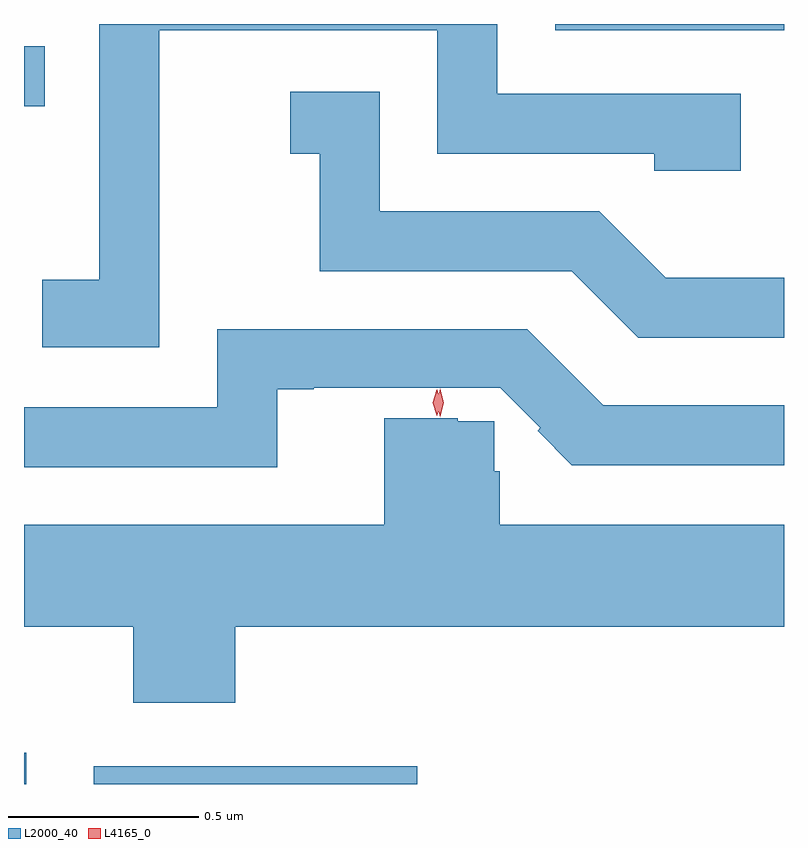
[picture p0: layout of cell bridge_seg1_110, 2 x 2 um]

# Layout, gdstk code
import gdstk
lib = gdstk.Library(unit=1e-6, precision=1e-09)
def R(c, l, rs):  # rectangles x0, y0, x1, y1
    for r in rs: c.add(gdstk.rectangle(r[:2], r[2:], *l))
def P(c, l, *ps):  # polygons
    for p in ps: c.add(gdstk.Polygon(p, *l))
L2000_40 = (2000, 40)
L4165_0 = (4165, 0)

bridge_seg1_110 = lib.new_cell('bridge_seg1_110')
R(bridge_seg1_110, L2000_40, [(1387.713,903.602,1387.719,903.684), (1387.896,903.602,1388.748,903.649), (1387.713,905.386,1387.768,905.544), (1389.111,905.586,1389.713,905.602)])
P(bridge_seg1_110, L2000_40, [(1388.069,905.586),(1388.801,905.586),(1388.801,905.261),(1389.371,905.261),(1389.371,905.216),(1389.599,905.216),(1389.599,905.419),(1388.959,905.419),(1388.959,905.602),(1387.911,905.602),(1387.911,904.929),(1387.761,904.929),(1387.761,904.751),(1388.069,904.751)],
  [(1389.713,904.934),(1389.402,904.934),(1389.227,905.109),(1388.649,905.109),(1388.649,905.424),(1388.413,905.424),(1388.413,905.261),(1388.491,905.261),(1388.491,904.951),(1389.154,904.951),(1389.329,904.776),(1389.713,904.776)],
  [(1388.379,904.641),(1388.475,904.641),(1388.475,904.645),(1388.966,904.645),(1389.072,904.539),(1389.065,904.531),(1389.155,904.441),(1389.713,904.441),(1389.713,904.599),(1389.237,904.599),(1389.037,904.799),(1388.221,904.799),(1388.221,904.594),(1387.713,904.594),(1387.713,904.436),(1388.379,904.436)],
  [(1388.269,904.016),(1389.713,904.016),(1389.713,904.284),(1388.965,904.284),(1388.965,904.425),(1388.951,904.425),(1388.951,904.557),(1388.855,904.557),(1388.855,904.564),(1388.661,904.564),(1388.661,904.284),(1387.713,904.284),(1387.713,904.016),(1388.001,904.016),(1388.001,903.816),(1388.269,903.816)])
P(bridge_seg1_110, L4165_0, [(1388.809,904.568),(1388.808,904.569),(1388.798,904.605),(1388.808,904.641),(1388.808,904.642),(1388.809,904.641),(1388.818,904.605),(1388.809,904.569)],
  [(1388.799,904.571),(1388.799,904.572),(1388.789,904.605),(1388.799,904.639),(1388.799,904.64),(1388.8,904.639),(1388.809,904.605),(1388.8,904.572)])

lib.write_gds('bridge_seg1_110.gds')
